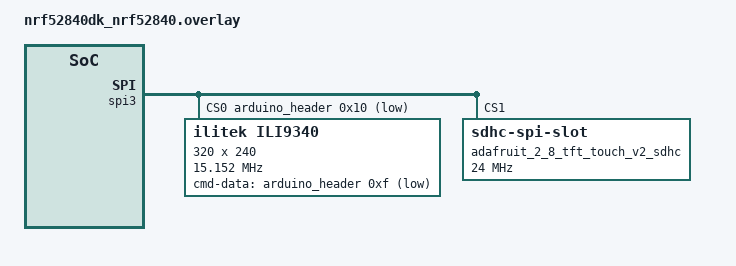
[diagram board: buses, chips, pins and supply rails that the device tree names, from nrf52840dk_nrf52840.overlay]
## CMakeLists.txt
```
cmake_minimum_required(VERSION 3.20.0)
find_package(Zephyr REQUIRED HINTS $ENV{ZEPHYR_BASE})

project(soundbox_project)

target_sources(app PRIVATE src/main.c)
target_sources(app PRIVATE src/custom.c)
target_sources(app PRIVATE src/tft_driver.c)
```

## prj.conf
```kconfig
# Configure logger
CONFIG_LOG=y

# CONFIG_USE_SEGGER_RTT=n
CONFIG_LOG_BACKEND_UART=y
CONFIG_LOG_DEFAULT_LEVEL=3

# Configure buttons and LEDs.
CONFIG_GPIO=y
CONFIG_DK_LIBRARY=y

# Configure Bluetooth
CONFIG_BT=y
CONFIG_BT_PERIPHERAL=y
CONFIG_BT_DEVICE_NAME="ISC"
CONFIG_BT_DEVICE_APPEARANCE=0
CONFIG_BT_MAX_CONN=1
CONFIG_BT_LL_SOFTDEVICE=y
CONFIG_BT_GATT_CLIENT=y
# CONFIG_ASSERT=y
CONFIG_FPU=y
# Configure your preferred connection parameters
CONFIG_BT_PERIPHERAL_PREF_MIN_INT=800
CONFIG_BT_PERIPHERAL_PREF_MAX_INT=800
CONFIG_BT_PERIPHERAL_PREF_LATENCY=0
CONFIG_BT_PERIPHERAL_PREF_TIMEOUT=400
CONFIG_BT_GAP_AUTO_UPDATE_CONN_PARAMS=y
#  Update Data Length and MTU
CONFIG_BT_GATT_AUTO_UPDATE_MTU=y
CONFIG_BT_USER_DATA_LEN_UPDATE=y
CONFIG_BT_CTLR_DATA_LENGTH_MAX=251
CONFIG_BT_BUF_ACL_RX_SIZE=251
CONFIG_BT_BUF_ACL_TX_SIZE=251
CONFIG_BT_L2CAP_TX_MTU=247

# USB stack and CDC ACM settings
CONFIG_USB_DEVICE_STACK=y
CONFIG_USB_DEVICE_REMOTE_WAKEUP=n
# CONFIG_USB_CDC_ACM=y
CONFIG_USB_DEVICE_MANUFACTURER="Nordic Semiconductor ASA"
CONFIG_USB_DEVICE_PRODUCT="nRF52840 Dongle"
CONFIG_USB_DEVICE_VID=0x1915
CONFIG_USB_DEVICE_PID=0x0001
# CONFIG_USB_DEVICE_INITIALIZE_AT_BOOT=y
CONFIG_USB_DEVICE_LOG_LEVEL_OFF=y
# CONFIG_USB_CDC_ACM_LOG_LEVEL_OFF=y
# CONFIG_USB_CDC_ACM_RINGBUF_SIZE=2048

# Console settings
CONFIG_CONSOLE=y
CONFIG_SERIAL=y
CONFIG_UART_CONSOLE=y
CONFIG_UART_INTERRUPT_DRIVEN=y

# Logger settings
CONFIG_LOG=y
CONFIG_LOG_BACKEND_UART=y
CONFIG_LOG_MODE_DEFERRED=y

#
# Copyright (c) 2024 Nordic Semiconductor ASA
#
# SPDX-License-Identifier: Apache-2.0
#

# Logging
CONFIG_LOG=y

# STEP 1.1 - Enable Kconfigs for SPI and GPIO
CONFIG_GPIO=y
CONFIG_SPI=y


# STEP 1.2 - Enable display drivers and increase heap
CONFIG_DISPLAY=y
CONFIG_HEAP_MEM_POOL_SIZE=16384
# CONFIG_DT_HAS_ILITEK_ILI9341_ENABLED=y
# CONFIG_ILI9341=y
CONFIG_LV_Z_MEM_POOL_NUMBER_BLOCKS=8
CONFIG_MAIN_STACK_SIZE=2048

CONFIG_DISPLAY_LOG_LEVEL_ERR=y

CONFIG_LVGL=y
CONFIG_LV_MEM_CUSTOM=y
CONFIG_LV_USE_LOG=y
CONFIG_LV_USE_LABEL=y
CONFIG_LV_USE_BTN=y
CONFIG_LV_USE_IMG=y
CONFIG_LV_FONT_MONTSERRAT_14=y

CONFIG_LV_USE_QRCODE=y
```

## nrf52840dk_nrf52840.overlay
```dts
&spi3{
    compatible = "nordic,nrf-spim";
    #address-cells = < 0x1 >;
    #size-cells = < 0x0 >;
    reg = < 0x4002f000 0x1000 >;
    interrupts = < 0x2f 0x1 >;
    max-frequency = < 0x1e84800 >;
    easydma-maxcnt-bits = < 0x10 >;
    rx-delay-supported;
    rx-delay = < 0x2 >;
    status = "okay";
    cs-gpios = < &arduino_header 0x10 0x1 >;
    pinctrl-0 = < &spi3_default >;
    pinctrl-1 = < &spi3_sleep >;
    pinctrl-names = "default", "sleep";
    ili9340: ili9340@0 {
        compatible = "ilitek,ili9340";
        spi-max-frequency = < 0xe7319b >;
        reg = < 0x0 >;
        cmd-data-gpios = < &arduino_header 0xf 0x1 >;
        width = < 320 >;
        height = < 240 >;
        pixel-format = < 0x1 >;
        rotation = < 0x5a >;
        frmctr1 = [ 00 18 ];
        pwctrl1 = [ 23 00 ];
        vmctrl1 = [ 3E 28 ];
        vmctrl2 = [ 86 ];
        pgamctrl = [ 0F 31 2B 0C 0E 08 4E F1 37 07 10 03 0E 09 00 ];
        ngamctrl = [ 00 0E 14 03 11 07 31 C1 48 08 0F 0C 31 36 0F ];
    };
    adafruit_2_8_tft_touch_v2_sdhc: sdhc@1 {
        compatible = "zephyr,sdhc-spi-slot";
        reg = < 0x1 >;
        status = "okay";
        spi-max-frequency = < 0x16e3600 >;
        mmc {
            compatible = "zephyr,sdmmc-disk";
            status = "okay";
        };
    };
};

/ {
	chosen {
		zephyr,display = &ili9340;
	};
};

&pinctrl {
    spi3_default{
        group1 {
                psels = <NRF_PSEL(SPIM_SCK, 1, 15)>,
                        <NRF_PSEL(SPIM_MISO, 1, 14)>,
                        <NRF_PSEL(SPIM_MOSI, 1, 13)>;
        };
    };

    spi3_sleep{
        group1 {
                psels = <NRF_PSEL(SPIM_SCK, 1, 15)>,
                        <NRF_PSEL(SPIM_MISO, 1, 14)>,
                        <NRF_PSEL(SPIM_MOSI, 1, 13)>;
                low-power-enable;
        };
    };
};
```

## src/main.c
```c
// #include "custom.h"


#include <zephyr/kernel.h>
#include <zephyr/logging/log.h>
#include <dk_buttons_and_leds.h>
#include "custom.h"
#include <zephyr/device.h>
#include <zephyr/devicetree.h>
#include <zephyr/drivers/display.h>
#include <zephyr/logging/log.h>
#include <stdio.h>
#include <lvgl.h>
#include "tft_driver.h"

#define LOG_MODULE_NAME app
LOG_MODULE_REGISTER(LOG_MODULE_NAME);

#define RUN_STATUS_LED DK_LED1
#define CONN_STATUS_LED DK_LED2
#define RUN_LED_BLINK_INTERVAL 1000

static struct bt_conn *current_conn;

/* Declarations */
void on_connected(struct bt_conn *conn, uint8_t err);
void on_disconnected(struct bt_conn *conn, uint8_t reason);
void on_notif_changed(enum bt_button_notifications_enabled status);
void on_data_received(struct bt_conn *conn, const uint8_t *const data, uint16_t len);
void on_le_param_updated(struct bt_conn *conn, uint16_t interval, uint16_t latency, uint16_t timeout);
void on_le_data_len_updated(struct bt_conn *conn, struct bt_conn_le_data_len_info *info);

/* Create variable that holds callback for MTU negotiation */
static struct bt_gatt_exchange_params exchange_params;

/* forward declaration of exchange_func(): */
static void exchange_func(struct bt_conn *conn, uint8_t att_err, struct bt_gatt_exchange_params *params);

struct bt_conn_cb bluetooth_callbacks = {
    .connected = on_connected,
    .disconnected = on_disconnected,
    .le_param_updated = on_le_param_updated,
    .le_data_len_updated = on_le_data_len_updated,
};
struct bt_remote_service_cb remote_callbacks = {
    .notif_changed = on_notif_changed,
    .data_received = on_data_received,
};

/*  Define the function to update the connection's data length */
static void update_data_length(struct bt_conn *conn)
{
        int err;
        struct bt_conn_le_data_len_param my_data_len = {
            .tx_max_len = BT_GAP_DATA_LEN_MAX,
            .tx_max_time = BT_GAP_DATA_TIME_MAX,
        };
        err = bt_conn_le_data_len_update(conn, &my_data_len);
        if (err)
        {
                LOG_ERR("data_len_update failed (err %d)", err);
        }
}

/*  Define the function to update the connection's MTU */
static void update_mtu(struct bt_conn *conn)
{
        int err;
        exchange_params.func = exchange_func;

        err = bt_gatt_exchange_mtu(conn, &exchange_params);
        if (err)
        {
                LOG_ERR("bt_gatt_exchange_mtu failed (err %d)", err);
        }
}

/* Implement callback function for MTU exchange */
static void exchange_func(struct bt_conn *conn, uint8_t att_err, struct bt_gatt_exchange_params *params)
{
        LOG_INF("MTU exchange %s", att_err == 0 ? "successful" : "failed");
        if (!att_err)
        {
                uint16_t payload_mtu =
                    bt_gatt_get_mtu(conn) - 3; // 3 bytes used for Attribute headers.
                LOG_INF("New MTU: %d bytes", payload_mtu);
        }
}

/* Callbacks */
void on_connected(struct bt_conn *conn, uint8_t err)
{
        if (err)
        {
                LOG_ERR("connection err: %d", err);
                return;
        }
        LOG_INF("Connected.");
        current_conn = bt_conn_ref(conn);
        dk_set_led_on(CONN_STATUS_LED);

        struct bt_conn_info info;
        err = bt_conn_get_info(conn, &info);
        if (err)
        {
                LOG_ERR("bt_conn_get_info() returned %d", err);
                return;
        }

        /*  Add the connection parameters to your log */
        double connection_interval = info.le.interval * 1.25; // in ms
        uint16_t supervision_timeout = info.le.timeout * 10;  // in ms
        LOG_INF("Connection parameters: interval %.2f ms, latency %d intervals, timeout %d ms",
                connection_interval, info.le.latency, supervision_timeout);
        /*  Update the data length and MTU */
        update_data_length(conn);
        update_mtu(conn);
}

void on_disconnected(struct bt_conn *conn, uint8_t reason)
{
        LOG_INF("Disconnected (reason: %d)", reason);
        dk_set_led_off(CONN_STATUS_LED);
        if (current_conn)
        {
                bt_conn_unref(current_conn);
                current_conn = NULL;
        }
}
/* Add the callback for connection parameter updates */
void on_le_param_updated(struct bt_conn *conn, uint16_t interval, uint16_t latency,
                         uint16_t timeout)
{
        double connection_interval = interval * 1.25; // in ms
        uint16_t supervision_timeout = timeout * 10;  // in ms
        LOG_INF("Connection parameters updated: interval %.2f ms, latency %d intervals, timeout %d ms",
                connection_interval, latency, supervision_timeout);
}
/* Write a callback function to inform about updates in data length */
void on_le_data_len_updated(struct bt_conn *conn, struct bt_conn_le_data_len_info *info)
{
        uint16_t tx_len = info->tx_max_len;
        uint16_t tx_time = info->tx_max_time;
        uint16_t rx_len = info->rx_max_len;
        uint16_t rx_time = info->rx_max_time;
        LOG_INF("Data length updated. Length %d/%d bytes, time %d/%d us", tx_len, rx_len, tx_time,
                rx_time);
}

void on_notif_changed(enum bt_button_notifications_enabled status)
{
        if (status == BT_BUTTON_NOTIFICATIONS_ENABLED)
        {
                LOG_INF("Notifications enabled");
        }
        else
        {
                LOG_INF("Notifications disabled");
        }
}
char glob;
void on_data_received(struct bt_conn *conn, const uint8_t *const data, uint16_t len)
{
        uint8_t temp_str[len + 1];
        memcpy(temp_str, data, len);
        temp_str[len] = 0x00;

        LOG_INF("Received data on conn %p. Len: %d", (void *)conn, len);
        LOG_INF("Data: %s", strdup(temp_str));
        glob=temp_str;
}

void button_handler(uint32_t button_state, uint32_t has_changed)
{
        int err;
        int button_pressed = 0;
        if (has_changed & button_state)
        {
                switch (has_changed)
                {
                case DK_BTN1_MSK:
                        button_pressed = 1;
                        break;
                case DK_BTN2_MSK:
                        button_pressed = 2;
                        break;
                case DK_BTN3_MSK:
                        button_pressed = 3;
                        break;
                case DK_BTN4_MSK:
                        button_pressed = 4;
                        break;
                default:
                        break;
                }
                LOG_INF("Button %d pressed.", button_pressed);
                set_button_value(button_pressed);
                err = send_button_notification(current_conn, button_pressed);
                if (err)
                {
                        LOG_ERR("Couldn't send notificaton. (err: %d)", err);
                }
        }
}

/* Configurations */
static void configure_dk_buttons_leds(void)
{
        int err;
        err = dk_leds_init();
        if (err)
        {
                LOG_ERR("Couldn't init LEDS (err %d)", err);
        }
        err = dk_buttons_init(button_handler);
        if (err)
        {
                LOG_ERR("Couldn't init buttons (err %d)", err);
        }
}

/* Main */
void main(void)
{
        int err;
        int blink_status = 0;
        LOG_INF("Hello World! %s\n", CONFIG_BOARD);
        const struct device *display_dev;
        display_dev = DEVICE_DT_GET(DT_NODELABEL(ili9340));

        char *msg_print = "SCAN THIS QR CODE!";
        char *msg_payment = "THANK YOU! PAYMENT IS RECIEVED";
        const char *qr_link = "https://rzp.io/i/BdoCGn6";
        // const char *qr_link = glob;

        tft_init(display_dev);

        tft_bg_color(0x000000);
        tft_text(msg_print, LV_ALIGN_TOP_MID, 0, 7, 0xffffff);
        tft_qrcode(qr_link,200,LV_ALIGN_CENTER,0,10);
        tft_execute(display_dev);

        k_msleep(5000);
        tft_clean();
        tft_text(msg_payment, LV_ALIGN_CENTER, 0, 0, 0xffffff);
        tft_execute(display_dev);
        configure_dk_buttons_leds();

        err = bluetooth_init(&bluetooth_callbacks, &remote_callbacks);
        if (err)
        {
                LOG_INF("Couldn't initialize Bluetooth. err: %d", err);
        }

        LOG_INF("Running...");
        for (;;)
        {
                dk_set_led(RUN_STATUS_LED, (blink_status++) % 2);
                k_sleep(K_MSEC(RUN_LED_BLINK_INTERVAL));
        }

       LOG_INF(" MAIN Data: %s", strdup(glob));

}
```

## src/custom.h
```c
#include <zephyr/kernel.h>
#include <zephyr/logging/log.h>

#include <zephyr/bluetooth/bluetooth.h>
#include <zephyr/bluetooth/uuid.h>
#include <zephyr/bluetooth/gatt.h>
#include <zephyr/bluetooth/hci.h>

/** @brief UUID of the Remote Service. **/
#define BT_UUID_REMOTE_SERV_VAL \
    BT_UUID_128_ENCODE(0xe9ea0001, 0xe19b, 0x482d, 0x9293, 0xc7907585fc48)

/** @brief UUID of the Button Characteristic. **/
#define BT_UUID_REMOTE_BUTTON_CHRC_VAL \
    BT_UUID_128_ENCODE(0xe9ea0002, 0xe19b, 0x482d, 0x9293, 0xc7907585fc48)

/** @brief UUID of the Message Characteristic. **/
#define BT_UUID_REMOTE_MESSAGE_CHRC_VAL \
    BT_UUID_128_ENCODE(0xe9ea0003, 0xe19b, 0x482d, 0x9293, 0xc7907585fc48)

#define BT_UUID_REMOTE_SERVICE BT_UUID_DECLARE_128(BT_UUID_REMOTE_SERV_VAL)
#define BT_UUID_REMOTE_BUTTON_CHRC BT_UUID_DECLARE_128(BT_UUID_REMOTE_BUTTON_CHRC_VAL)
#define BT_UUID_REMOTE_MESSAGE_CHRC BT_UUID_DECLARE_128(BT_UUID_REMOTE_MESSAGE_CHRC_VAL)

enum bt_button_notifications_enabled
{
    BT_BUTTON_NOTIFICATIONS_ENABLED,
    BT_BUTTON_NOTIFICATIONS_DISABLED,
};

struct bt_remote_service_cb
{
    void (*notif_changed)(enum bt_button_notifications_enabled status);
    void (*data_received)(struct bt_conn *conn, const uint8_t *const data, uint16_t len);
};

int send_button_notification(struct bt_conn *conn, uint8_t value);
void set_button_value(uint8_t btn_value);
int bluetooth_init(struct bt_conn_cb *bt_cb, struct bt_remote_service_cb *remote_cb);
// static void update_data_length(struct bt_conn *conn);
// static void update_mtu(struct bt_conn *conn);
// static void exchange_func(struct bt_conn *conn, uint8_t att_err, struct bt_gatt_exchange_params *params);
```

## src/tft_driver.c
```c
#include <zephyr/logging/log.h>
#include <zephyr/kernel.h>
#include <zephyr/device.h>
#include <zephyr/devicetree.h>
#include <zephyr/drivers/display.h>
#include <zephyr/drivers/gpio.h>
#include <stdio.h>
#include <string.h>
#include <lvgl.h>
#include "tft_driver.h"

LOG_MODULE_REGISTER(ILI9341_DISPLAY, LOG_LEVEL_INF);

void tft_init(const struct device *dev)
{
        if (!device_is_ready(dev))
        {
                LOG_ERR("Device not ready, aborting test");
                return;
        }
        LOG_INF("Display is connected");
}

void tft_execute(const struct device *dev)
{
        lv_task_handler();
        display_blanking_off(dev);
}

void tft_qrcode(const char *data, lv_coord_t size, lv_align_t align, lv_coord_t x_ofs, lv_coord_t y_ofs)
{
        lv_color_t bg_color = lv_palette_lighten(LV_PALETTE_WHITE, 5);
        lv_color_t fg_color = lv_palette_darken(LV_PALETTE_BLACK, 4);

        lv_obj_t *qr = lv_qrcode_create(lv_scr_act(), size, bg_color, fg_color);

        /*Set data*/
        // const char *data = "https://g.co/kgs/f7btthT";
        lv_qrcode_update(qr, data, strlen(data));
        lv_obj_align(qr, align, x_ofs, y_ofs);

        /*Add a border with bg_color*/
        lv_obj_set_style_border_color(qr, fg_color, 0);
        lv_obj_set_style_border_width(qr, 5, 0);
}

void tft_clean(void)
{
        lv_obj_clean(lv_scr_act());
}

void tft_text(char msg[], lv_align_t align, lv_coord_t x_ofs, lv_coord_t y_ofs, uint32_t text_color)
{
        /*Change the active screen's background color*/
        // lv_obj_set_style_bg_color(lv_scr_act(), lv_color_hex(0x000000), LV_PART_MAIN);

        /*Create a white label, set its text and align it to the center*/
        lv_obj_t *label = lv_label_create(lv_scr_act());
        lv_label_set_text(label, msg);
        lv_obj_set_style_text_color(lv_scr_act(), lv_color_hex(text_color), LV_PART_MAIN);
        lv_obj_align(label, align, x_ofs, y_ofs);
}

void tft_bg_color(uint32_t bg_color)
{
        lv_obj_set_style_bg_color(lv_scr_act(), lv_color_hex(bg_color), LV_PART_MAIN);
}

static void event_cb(lv_event_t *e)
{
        LV_LOG_USER("Clicked");

        static uint32_t cnt = 1;
        lv_obj_t *btn = lv_event_get_target(e);
        lv_obj_t *label = lv_obj_get_child(btn, 0);
        lv_label_set_text_fmt(label, "%" LV_PRIu32, cnt);
        cnt++;
}

void lv_example_event_1(void)
{
        lv_obj_t *btn = lv_btn_create(lv_scr_act());
        lv_obj_set_size(btn, 100, 50);
        lv_obj_center(btn);
        lv_obj_add_event_cb(btn, event_cb, LV_EVENT_CLICKED, NULL);

        lv_obj_t *label = lv_label_create(btn);
        lv_label_set_text(label, "Click me!");
        lv_obj_center(label);
}

void lv_example_style_10(void)
{
        static const lv_style_prop_t props[] = {LV_STYLE_BG_COLOR, LV_STYLE_BORDER_COLOR, LV_STYLE_BORDER_WIDTH, 0};

        /* A default transition
         * Make it fast (100ms) and start with some delay (200 ms)*/
        static lv_style_transition_dsc_t trans_def;
        lv_style_transition_dsc_init(&trans_def, props, lv_anim_path_linear, 1000, 200, NULL);

        /* A special transition when going to pressed state
         * Make it slow (500 ms) but start  without delay*/
        static lv_style_transition_dsc_t trans_pr;
        lv_style_transition_dsc_init(&trans_pr, props, lv_anim_path_linear, 2000, 1000, NULL);

        static lv_style_t style_def;
        lv_style_init(&style_def);
        lv_style_set_transition(&style_def, &trans_def);

        static lv_style_t style_pr;
        lv_style_init(&style_pr);
        lv_style_set_bg_color(&style_pr, lv_palette_main(LV_PALETTE_RED));
        lv_style_set_border_width(&style_pr, 6);
        lv_style_set_border_color(&style_pr, lv_palette_darken(LV_PALETTE_RED, 3));
        lv_style_set_transition(&style_pr, &trans_pr);

        /*Create an object with the new style_pr*/
        lv_obj_t *obj = lv_obj_create(lv_scr_act());
        lv_obj_add_style(obj, &style_def, 0);
        lv_obj_add_style(obj, &style_pr, LV_STATE_PRESSED);

        lv_obj_center(obj);
}
```

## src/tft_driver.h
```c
void tft_init(const struct device *dev);
void tft_qrcode(const char *data, lv_coord_t size, lv_align_t align, lv_coord_t x_ofs, lv_coord_t y_ofs);
void tft_text(char msg[], lv_align_t align, lv_coord_t x_ofs, lv_coord_t y_ofs, uint32_t text_color);
void tft_execute(const struct device *dev);
void tft_bg_color(uint32_t bg_color);
void lv_example_event_1(void);
void lv_example_style_10(void);
void tft_clean(void);
```
